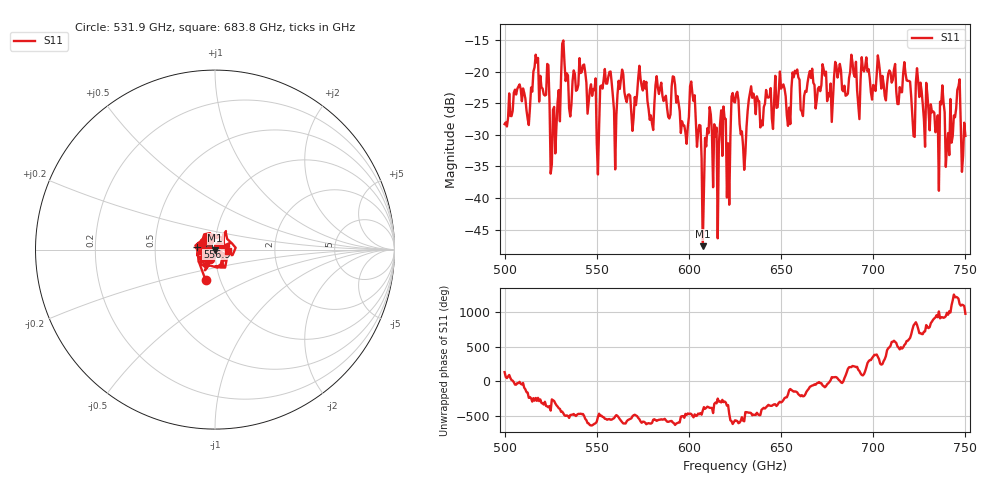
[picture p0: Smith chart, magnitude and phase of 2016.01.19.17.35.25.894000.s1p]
!Created with skrf (http://scikit-rf.org).
# GHz S RI R 50.0
!freq ReS11 ImS11
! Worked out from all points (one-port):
!   401 points, 500 GHz to 750 GHz, reference 50 ohm
!   lowest |S11| = -47.6 dB at 607.5 GHz (marker M1), VSWR 1.01, Z = 50.2 - j0.386 ohm
!   |S11| at or under -10 dB: start of sweep to end of sweep
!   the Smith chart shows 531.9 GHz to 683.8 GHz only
!   S11 on the Smith chart (normalised r, x): 531.9 GHz: 0.85, -0.30; 556.9 GHz: 0.82, +0.03; 683.8 GHz: 1.15, -0.01
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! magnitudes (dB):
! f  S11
! 500 GHz  -28.3
! 513.1 GHz  -28.4
! 516.9 GHz  -17.3
! 526.2 GHz  -26.0
! 531.2 GHz  -15.6
! 531.9 GHz  -15.0
! 550 GHz  -31.3
! 556.9 GHz  -20.0
! 560 GHz  -35.5
! 562.5 GHz  -22.7
! 593.8 GHz  -23.8
! 598.1 GHz  -29.7
! 601.9 GHz  -23.5
! 607.5 GHz  -47.6
! 611.2 GHz  -25.6
! 621.2 GHz  -31.3
! 625 GHz  -24.8
! 629.4 GHz  -31.8
! 633.8 GHz  -22.3
! 656.2 GHz  -20.1
! 683.8 GHz  -23.1
! 687.5 GHz  -20.0
! 718.8 GHz  -21.4
! 734.4 GHz  -28.8
! 737.5 GHz  -22.1
! 740 GHz  -31.7
! 745.6 GHz  -22.8
! 750 GHz  -30.2
